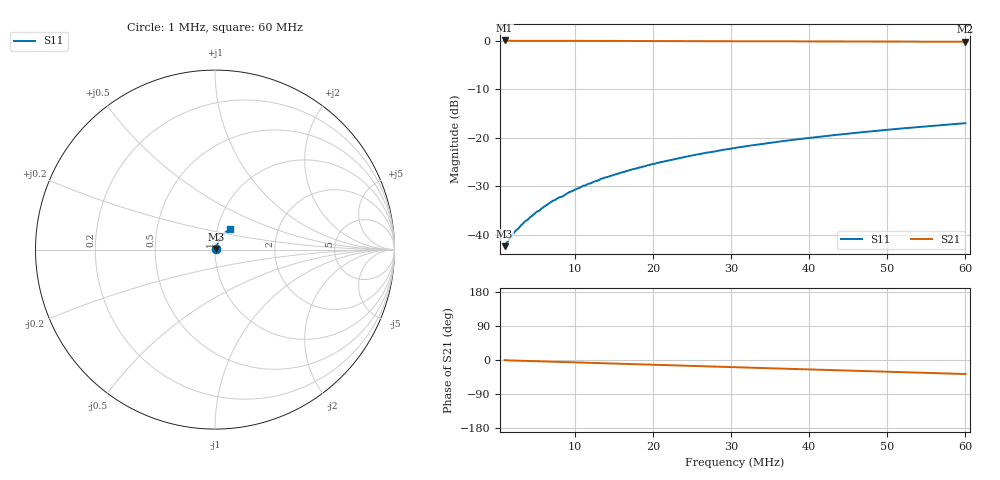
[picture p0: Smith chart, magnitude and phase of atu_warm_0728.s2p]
! S11/S21 from S-A-A-2 VNA
! Written 2026-11-14 07:27:40 by the saav2 MCP server
! S12 and S22 were not measured (1.5-port VNA) and are written as 0
# HZ S RI R 50
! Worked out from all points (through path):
!   201 points, 1 MHz to 60 MHz, reference 50 ohm
!   highest |S21| = 0.08 dB at 1 MHz (marker M1); lowest = -0.2 dB at 60 MHz (marker M2)
!   group delay of S21, straight-line fit = 1.71 ns
!   lowest |S11| = -42.3 dB at 1 MHz (marker M3), VSWR 1.02, Z = 50.7 + j0.329 ohm
!   |S11| at or under -10 dB: start of sweep to end of sweep
!   S12 and S22 are empty: the file has one direction only
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1000000  0.00694 0.00325  1.009 -0.00551  0 0  0 0
2180000  0.00794 0.00687  0.9998 -0.0247  0 0  0 0
2475000  0.00805 0.00776  0.9995 -0.0277  0 0  0 0
2770000  0.00809 0.00838  0.9988 -0.0305  0 0  0 0
3655000  0.00849 0.011  0.9985 -0.0398  0 0  0 0
3950000  0.00867 0.0114  0.9981 -0.0431  0 0  0 0
4245000  0.0088 0.0124  0.9985 -0.0458  0 0  0 0
5130000  0.00946 0.0146  0.9979 -0.056  0 0  0 0
5425000  0.00946 0.015  0.9975 -0.0592  0 0  0 0
6015000  0.00985 0.0168  0.9974 -0.0652  0 0  0 0
7195000  0.0109 0.0197  0.9972 -0.0786  0 0  0 0
9260000  0.012 0.0248  0.9948 -0.102  0 0  0 0
1.103e7  0.0132 0.0292  0.9919 -0.122  0 0  0 0
1.1325e7  0.0134 0.0294  0.9914 -0.1248  0 0  0 0
1.339e7  0.0154 0.0347  0.987 -0.1479  0 0  0 0
1.6045e7  0.0176 0.0405  0.9805 -0.1762  0 0  0 0
2.0765e7  0.0222 0.0511  0.9686 -0.2255  0 0  0 0
2.5485e7  0.0282 0.0609  0.954 -0.2736  0 0  0 0
3.05e7  0.0348 0.0706  0.9361 -0.3231  0 0  0 0
4.053e7  0.0497 0.0881  0.8934 -0.4197  0 0  0 0
5.0265e7  0.0665 0.1019  0.842 -0.507  0 0  0 0
6e7  0.0851 0.1129  0.7813 -0.5893  0 0  0 0
